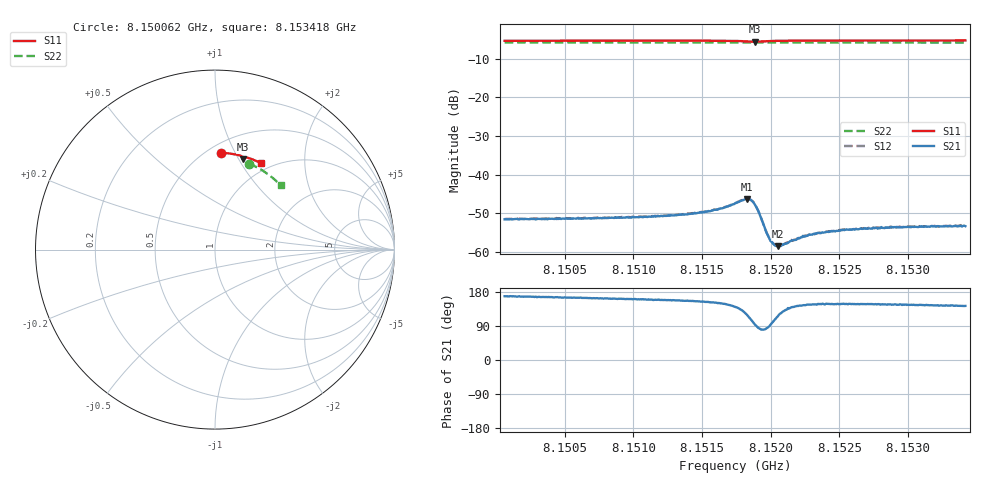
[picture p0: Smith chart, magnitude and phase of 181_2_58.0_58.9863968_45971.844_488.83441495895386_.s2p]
#  HZ  S  RI  R  50.00
! Rohde & Schwarz Vector Network Analyzer
! Rohde-Schwarz,ZNB20-2Port,1311601062101988,3.16
! Created: UTC 3/21/2024, 12:58:20 AM
! freq[Hz]  re:S11  im:S11  re:S21  im:S21  re:S12  im:S12  re:S22  im:S22
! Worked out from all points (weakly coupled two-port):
!   401 points, 8.150062 GHz to 8.153418 GHz, reference 50 ohm
!   highest |S21| = -46.24 dB at 8.151824 GHz (marker M1); lowest = -58.5 dB at 8.152051 GHz (marker M2)
!   lowest |S11| = -5.6 dB at 8.151883 GHz (marker M3), VSWR 3.22, Z = 37.3 + j51.9 ohm
!   |S11| at or under -10 dB: nowhere
!   |S22| runs from -5.8 to -5.8 dB; largest |S21 - S12| = 0.00014
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8.1500625e9  0.0356 0.5394  -0.0026 0.000537  -0.00262 0.000579  0.1903 0.4793
8.1506246e9  0.075 0.5363  -0.0026 0.000756  -0.00262 0.000806  0.2234 0.4641
8.1511867e9  0.1146 0.5299  -0.00272 0.00103  -0.00273 0.00111  0.2553 0.4467
8.1513796e9  0.1284 0.5268  -0.00281 0.00124  -0.00282 0.00129  0.2659 0.4401
8.1515306e9  0.1396 0.5236  -0.00298 0.00149  -0.00298 0.00157  0.274 0.4348
8.1516145e9  0.1462 0.5214  -0.00308 0.00177  -0.0031 0.00178  0.2785 0.4317
8.1517404e9  0.1564 0.5151  -0.00329 0.00273  -0.00328 0.00277  0.2851 0.4271
8.1518242e9  0.1595 0.5059  -0.00248 0.00419  -0.00241 0.00427  0.2892 0.4236
8.1518578e9  0.1567 0.5027  -0.00132 0.00451  -0.00127 0.00453  0.2908 0.4224
8.151883e9  0.1534 0.5028  -0.000334 0.00416  -0.000281 0.00423  0.292 0.4215
8.1519165e9  0.1513 0.5064  0.000367 0.00316  0.000418 0.00317  0.2936 0.4206
8.1519669e9  0.1541 0.5119  0.000225 0.00182  0.000246 0.00186  0.2963 0.419
8.151992e9  0.1565 0.5133  1.69e-06 0.00147  4.29e-06 0.0015  0.2975 0.4181
8.1520172e9  0.1591 0.5142  -0.000244 0.00128  -0.000194 0.00128  0.299 0.4171
8.152034e9  0.1608 0.5145  -0.000372 0.00116  -0.000373 0.00115  0.2999 0.4164
8.1520508e9  0.1625 0.5146  -0.000499 0.00108  -0.000493 0.0011  0.3008 0.4158
8.1520843e9  0.1657 0.5147  -0.00074 0.000999  -0.000731 0.00101  0.3025 0.4145
8.1522353e9  0.1783 0.5127  -0.00132 0.000942  -0.00129 0.000949  0.3104 0.4086
8.1523024e9  0.1833 0.5114  -0.0014 0.000927  -0.0014 0.000948  0.3137 0.4059
8.1525206e9  0.1987 0.5064  -0.00163 0.00102  -0.00163 0.00107  0.3244 0.397
8.1528645e9  0.2216 0.4974  -0.00172 0.00113  -0.00172 0.0012  0.3407 0.3824
8.1534182e9  0.2568 0.4814  -0.00172 0.00131  -0.00175 0.00135  0.3658 0.3575
